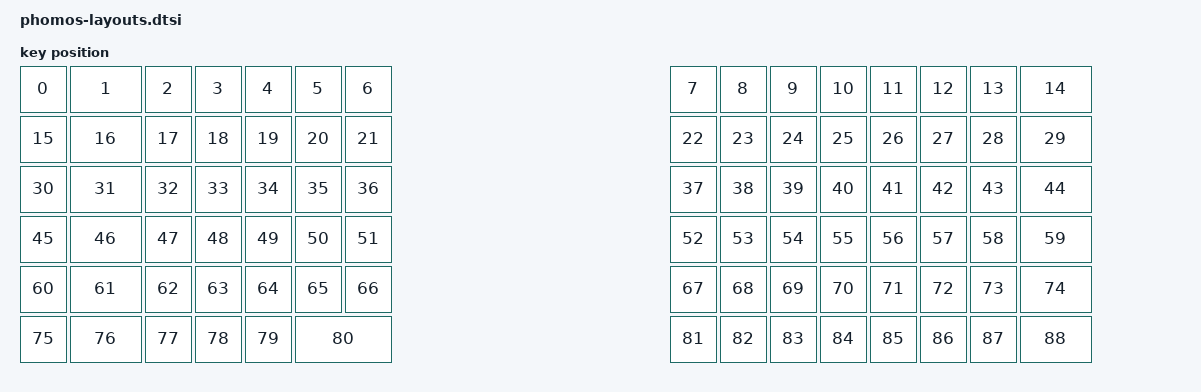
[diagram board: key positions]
#include <physical_layouts.dtsi>

/ {
    phomos_layout: phomos_layout {
        compatible = "zmk,physical-layout";
        display-name = "PhomosLayout";
        transform = <&default_transform>;
        kscan = <&kscan0>;


        keys  //                     w   h    x    y     rot    rx    ry
            = <&key_physical_attrs 100 100    0    0       0     0     0>
            , <&key_physical_attrs 150 100  100    0       0     0     0>
            , <&key_physical_attrs 100 100  250    0       0     0     0>
            , <&key_physical_attrs 100 100  350    0       0     0     0>
            , <&key_physical_attrs 100 100  450    0       0     0     0>
            , <&key_physical_attrs 100 100  550    0       0     0     0>
            , <&key_physical_attrs 100 100  650    0       0     0     0>
            , <&key_physical_attrs 100 100 1300    0       0     0     0>
            , <&key_physical_attrs 100 100 1400    0       0     0     0>
            , <&key_physical_attrs 100 100 1500    0       0     0     0>
            , <&key_physical_attrs 100 100 1600    0       0     0     0>
            , <&key_physical_attrs 100 100 1700    0       0     0     0>
            , <&key_physical_attrs 100 100 1800    0       0     0     0>
            , <&key_physical_attrs 100 100 1900    0       0     0     0>
            , <&key_physical_attrs 150 100 2000    0       0     0     0>
            , <&key_physical_attrs 100 100    0  100       0     0     0>
            , <&key_physical_attrs 150 100  100  100       0     0     0>
            , <&key_physical_attrs 100 100  250  100       0     0     0>
            , <&key_physical_attrs 100 100  350  100       0     0     0>
            , <&key_physical_attrs 100 100  450  100       0     0     0>
            , <&key_physical_attrs 100 100  550  100       0     0     0>
            , <&key_physical_attrs 100 100  650  100       0     0     0>
            , <&key_physical_attrs 100 100 1300  100       0     0     0>
            , <&key_physical_attrs 100 100 1400  100       0     0     0>
            , <&key_physical_attrs 100 100 1500  100       0     0     0>
            , <&key_physical_attrs 100 100 1600  100       0     0     0>
            , <&key_physical_attrs 100 100 1700  100       0     0     0>
            , <&key_physical_attrs 100 100 1800  100       0     0     0>
            , <&key_physical_attrs 100 100 1900  100       0     0     0>
            , <&key_physical_attrs 150 100 2000  100       0     0     0>
            , <&key_physical_attrs 100 100    0  200       0     0     0>
            , <&key_physical_attrs 150 100  100  200       0     0     0>
            , <&key_physical_attrs 100 100  250  200       0     0     0>
            , <&key_physical_attrs 100 100  350  200       0     0     0>
            , <&key_physical_attrs 100 100  450  200       0     0     0>
            , <&key_physical_attrs 100 100  550  200       0     0     0>
            , <&key_physical_attrs 100 100  650  200       0     0     0>
            , <&key_physical_attrs 100 100 1300  200       0     0     0>
            , <&key_physical_attrs 100 100 1400  200       0     0     0>
            , <&key_physical_attrs 100 100 1500  200       0     0     0>
            , <&key_physical_attrs 100 100 1600  200       0     0     0>
            , <&key_physical_attrs 100 100 1700  200       0     0     0>
            , <&key_physical_attrs 100 100 1800  200       0     0     0>
            , <&key_physical_attrs 100 100 1900  200       0     0     0>
            , <&key_physical_attrs 150 100 2000  200       0     0     0>
            , <&key_physical_attrs 100 100    0  300       0     0     0>
            , <&key_physical_attrs 150 100  100  300       0     0     0>
            , <&key_physical_attrs 100 100  250  300       0     0     0>
            , <&key_physical_attrs 100 100  350  300       0     0     0>
            , <&key_physical_attrs 100 100  450  300       0     0     0>
            , <&key_physical_attrs 100 100  550  300       0     0     0>
            , <&key_physical_attrs 100 100  650  300       0     0     0>
            , <&key_physical_attrs 100 100 1300  300       0     0     0>
            , <&key_physical_attrs 100 100 1400  300       0     0     0>
            , <&key_physical_attrs 100 100 1500  300       0     0     0>
            , <&key_physical_attrs 100 100 1600  300       0     0     0>
            , <&key_physical_attrs 100 100 1700  300       0     0     0>
            , <&key_physical_attrs 100 100 1800  300       0     0     0>
            , <&key_physical_attrs 100 100 1900  300       0     0     0>
            , <&key_physical_attrs 150 100 2000  300       0     0     0>
            , <&key_physical_attrs 100 100    0  400       0     0     0>
            , <&key_physical_attrs 150 100  100  400       0     0     0>
            , <&key_physical_attrs 100 100  250  400       0     0     0>
            , <&key_physical_attrs 100 100  350  400       0     0     0>
            , <&key_physical_attrs 100 100  450  400       0     0     0>
            , <&key_physical_attrs 100 100  550  400       0     0     0>
            , <&key_physical_attrs 100 100  650  400       0     0     0>
            , <&key_physical_attrs 100 100 1300  400       0     0     0>
            , <&key_physical_attrs 100 100 1400  400       0     0     0>
            , <&key_physical_attrs 100 100 1500  400       0     0     0>
            , <&key_physical_attrs 100 100 1600  400       0     0     0>
            , <&key_physical_attrs 100 100 1700  400       0     0     0>
            , <&key_physical_attrs 100 100 1800  400       0     0     0>
            , <&key_physical_attrs 100 100 1900  400       0     0     0>
            , <&key_physical_attrs 150 100 2000  400       0     0     0>
            , <&key_physical_attrs 100 100    0  500       0     0     0>
            , <&key_physical_attrs 150 100  100  500       0     0     0>
            , <&key_physical_attrs 100 100  250  500       0     0     0>
            , <&key_physical_attrs 100 100  350  500       0     0     0>
            , <&key_physical_attrs 100 100  450  500       0     0     0>
            , <&key_physical_attrs 200 100  550  500       0     0     0>
            , <&key_physical_attrs 100 100 1300  500       0     0     0>
            , <&key_physical_attrs 100 100 1400  500       0     0     0>
            , <&key_physical_attrs 100 100 1500  500       0     0     0>
            , <&key_physical_attrs 100 100 1600  500       0     0     0>
            , <&key_physical_attrs 100 100 1700  500       0     0     0>
            , <&key_physical_attrs 100 100 1800  500       0     0     0>
            , <&key_physical_attrs 100 100 1900  500       0     0     0>
            , <&key_physical_attrs 150 100 2000  500       0     0     0>
            ;
    };
};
